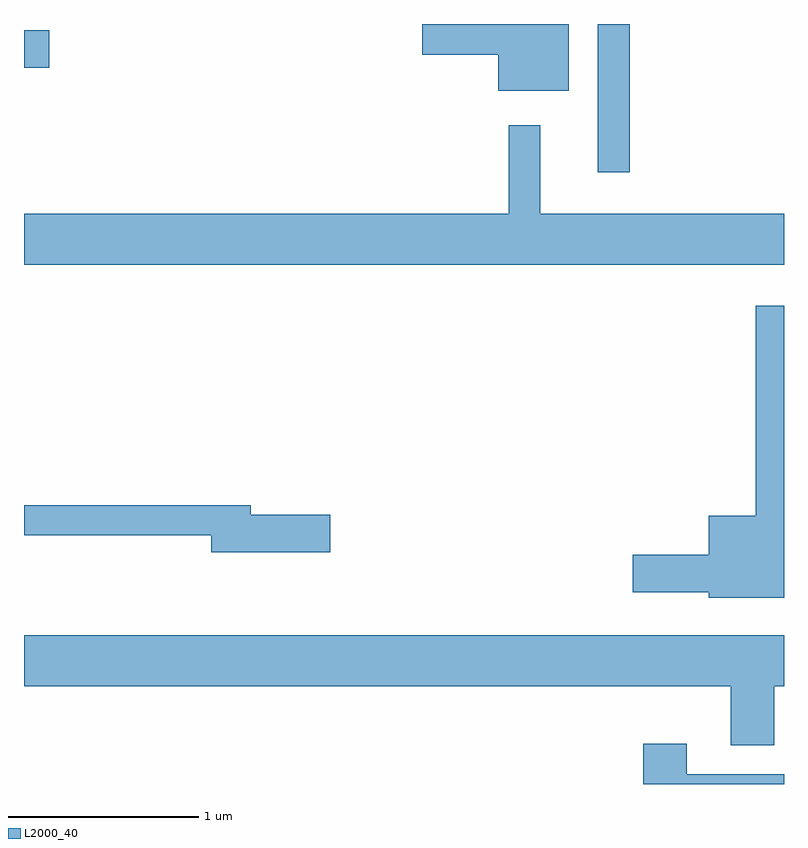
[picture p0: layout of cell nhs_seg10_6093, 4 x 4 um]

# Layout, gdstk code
import gdstk
lib = gdstk.Library(unit=1e-6, precision=1e-09)
def R(c, l, rs):  # rectangles x0, y0, x1, y1
    for r in rs: c.add(gdstk.rectangle(r[:2], r[2:], *l))
def P(c, l, *ps):  # polygons
    for p in ps: c.add(gdstk.Polygon(p, *l))
L2000_40 = (2000, 40)

nhs_seg10_6093 = lib.new_cell('nhs_seg10_6093')
R(nhs_seg10_6093, L2000_40, [(368.631,2107.743,368.799,2108.522), (365.611,2108.291,365.744,2108.489)])
P(nhs_seg10_6093, L2000_40, [(368.479,2108.522),(367.706,2108.522),(367.706,2108.361),(368.106,2108.361),(368.106,2108.171),(368.479,2108.171)],
  [(369.611,2107.524),(368.329,2107.524),(368.329,2107.988),(368.161,2107.988),(368.161,2107.524),(365.611,2107.524),(365.611,2107.256),(369.611,2107.256)],
  [(369.611,2107.038),(369.461,2107.038),(369.461,2105.934),(369.216,2105.934),(369.216,2105.729),(368.816,2105.729),(368.816,2105.531),(369.216,2105.531),(369.216,2105.501),(369.611,2105.501)],
  [(367.224,2105.939),(366.804,2105.939),(366.804,2105.989),(365.611,2105.989),(365.611,2105.831),(366.596,2105.831),(366.596,2105.741),(367.224,2105.741)],
  [(369.559,2105.036),(369.611,2105.036),(369.611,2105.304),(365.611,2105.304),(365.611,2105.036),(369.331,2105.036),(369.331,2104.726),(369.559,2104.726)],
  [(369.611,2104.574),(369.099,2104.574),(369.099,2104.734),(368.871,2104.734),(368.871,2104.522),(369.611,2104.522)])

lib.write_gds('nhs_seg10_6093.gds')
